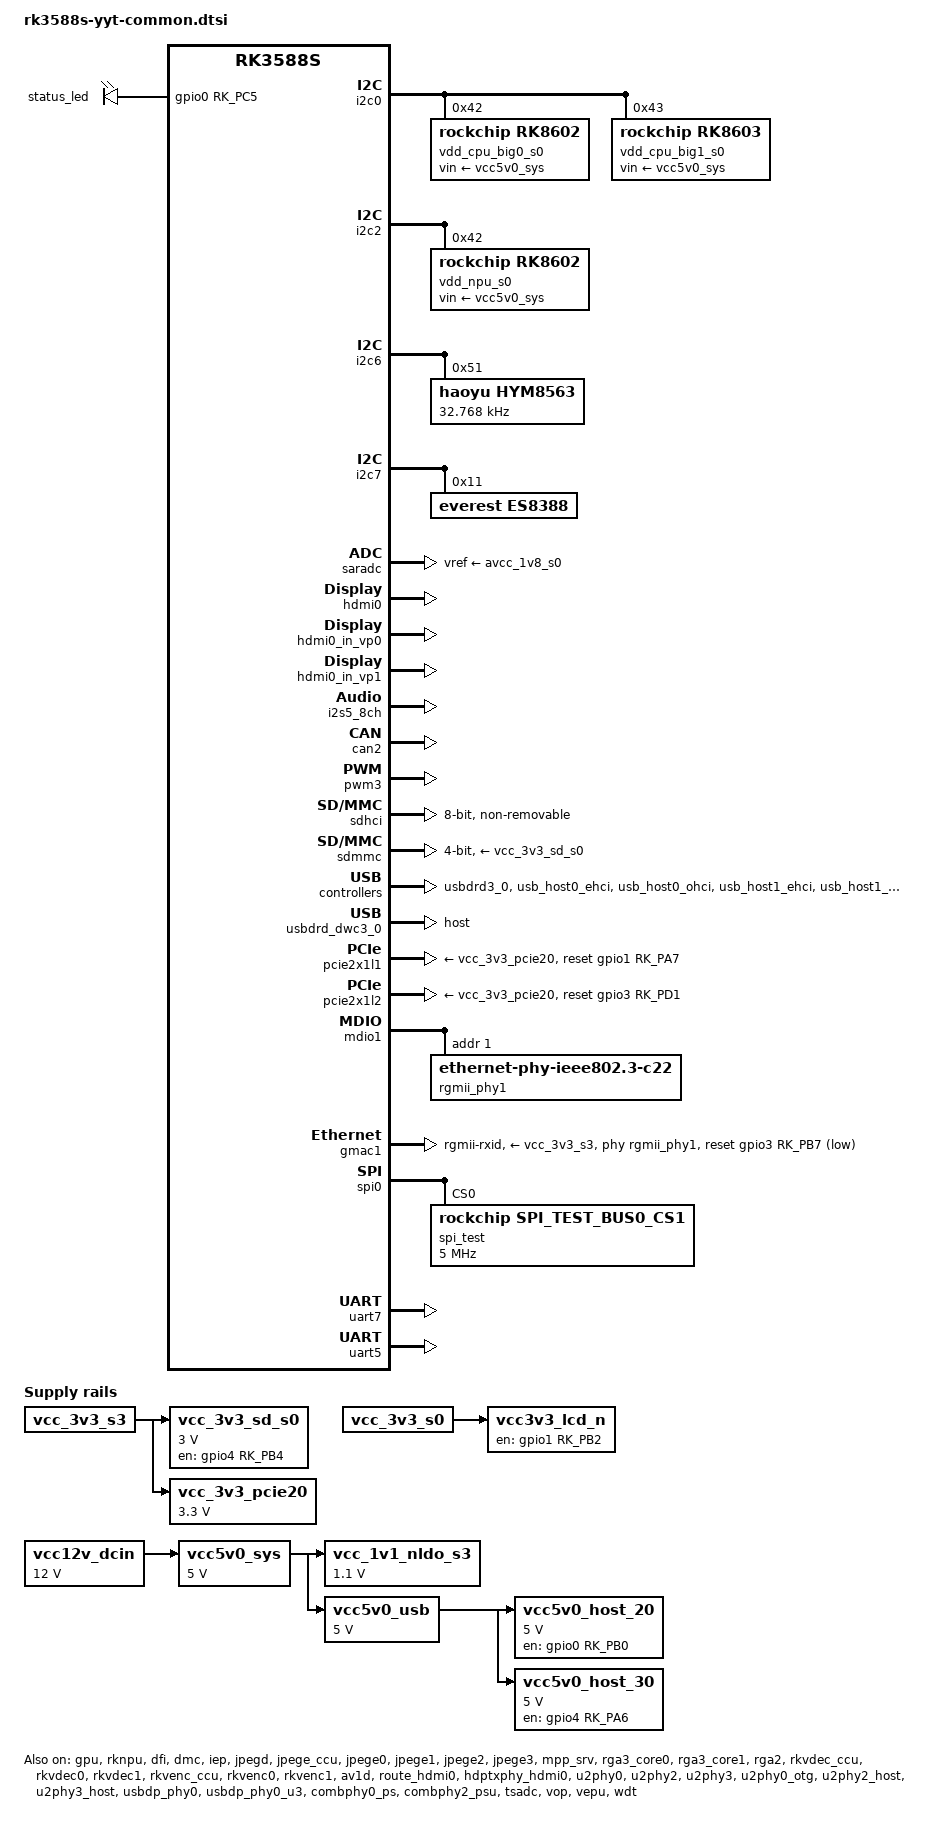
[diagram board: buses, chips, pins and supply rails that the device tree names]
// SPDX-License-Identifier: (GPL-2.0+ OR MIT)
/*
 *
 * Copyright (c) 2021 Rockchip Electronics Co., Ltd.
 */

#include <dt-bindings/gpio/gpio.h>
#include <dt-bindings/pwm/pwm.h>
#include <dt-bindings/pinctrl/rockchip.h>
#include <dt-bindings/input/rk-input.h>
#include <dt-bindings/display/drm_mipi_dsi.h>
#include <dt-bindings/display/rockchip_vop.h>
#include <dt-bindings/sensor-dev.h>
#include <dt-bindings/usb/pd.h>
#include "rk3588s.dtsi"
#include "rk3588-rk806-single.dtsi"
#include "rk3588-linux.dtsi"


/ {
	aliases {
		ethernet0 = &gmac1;
		mmc0 = &sdhci;
		mmc1 = &sdmmc;
		mmc2 = &sdio;
	};

	chosen: chosen {
		bootargs = "earlycon=uart8250,mmio32,0xfeb50000 console=ttyFIQ0 coherent_pool=1m irqchip.gicv3_pseudo_nmi=0";
	};

	/* HDMI SOUND */

	hdmi0_sound: hdmi0-sound {
		status = "disabled";
		compatible = "simple-audio-card";
		simple-audio-card,format = "i2s";
		simple-audio-card,mclk-fs = <128>;
		simple-audio-card,name = "rockchip,hdmi0";

		simple-audio-card,cpu {
			sound-dai = <&i2s5_8ch>;
		};
		simple-audio-card,codec {
			sound-dai = <&hdmi0>;
		};
	};

    /* POWER REGULATOR 12V DC-IN */

	vcc12v_dcin: vcc12v-dcin {
		compatible = "regulator-fixed";
		regulator-name = "vcc12v_dcin";
		regulator-always-on;
		regulator-boot-on;
		regulator-min-microvolt = <12000000>;
		regulator-max-microvolt = <12000000>;
	};

	/* POWER REGULATOR 5V SYS */

	vcc5v0_sys: vcc5v0-sys {
		compatible = "regulator-fixed";
		regulator-name = "vcc5v0_sys";
		regulator-always-on;
		regulator-boot-on;
		regulator-min-microvolt = <5000000>;
		regulator-max-microvolt = <5000000>;
		vin-supply = <&vcc12v_dcin>;
	};

	/* POWER REGULATOR CPU */

	vcc_1v1_nldo_s3: vcc-1v1-nldo-s3 {
		compatible = "regulator-fixed";
		regulator-name = "vcc_1v1_nldo_s3";
		regulator-always-on;
		regulator-boot-on;
		regulator-min-microvolt = <1100000>;
		regulator-max-microvolt = <1100000>;
		vin-supply = <&vcc5v0_sys>;
	};

	/* POWER REGULATOR 3V (SD) */

	vcc_3v3_sd_s0: vcc-3v3-sd-s0-regulator {
		compatible = "regulator-fixed";
		enable-active-high;
		gpio = <&gpio4 RK_PB4 GPIO_ACTIVE_HIGH>;
		pinctrl-names = "default";
		pinctrl-0 = <&sd_s0_pwr>;
		regulator-always-on;
		regulator-boot-on;
		regulator-max-microvolt = <3000000>;
		regulator-min-microvolt = <3000000>;
		regulator-name = "vcc_3v3_sd_s0";
		vin-supply = <&vcc_3v3_s3>;
	};

	/* POWER REGULATOR 3.3V (PCIE)*/

	vcc_3v3_pcie20: vcc3v3-pcie20 {
		compatible = "regulator-fixed";
		regulator-name = "vcc_3v3_pcie20";
		regulator-always-on;
		regulator-boot-on;
		regulator-min-microvolt = <3300000>;
		regulator-max-microvolt = <3300000>;
		vin-supply = <&vcc_3v3_s3>;
	};

	/* POWER REGULATOR 5V (USB2 & USB3) */

	vcc5v0_usb: vcc5v0-usb {
		compatible = "regulator-fixed";
		regulator-name = "vcc5v0_usb";
		regulator-always-on;
		regulator-boot-on;
		regulator-min-microvolt = <5000000>;
		regulator-max-microvolt = <5000000>;
		vin-supply = <&vcc5v0_sys>;
	};

    vcc5v0_host_20: vcc5v0-host-20 { // U13 (USB 2.0)
        compatible = "regulator-fixed";
        enable-active-high;
        gpio = <&gpio0 RK_PB0 GPIO_ACTIVE_HIGH>;
        pinctrl-names = "default";
        pinctrl-0 = <&vcc5v0_host20_en>;
        regulator-name = "vcc5v0_host_20";
        regulator-min-microvolt = <5000000>;
        regulator-max-microvolt = <5000000>;
        vin-supply = <&vcc5v0_usb>;
    };

    vcc5v0_host_30: vcc5v0-host-30 { // U12 (USB 3.0)
        compatible = "regulator-fixed";
        enable-active-high;
        gpio = <&gpio4 RK_PA6 GPIO_ACTIVE_HIGH>;
        pinctrl-names = "default";
        pinctrl-0 = <&vcc5v0_host30_en>;
        regulator-name = "vcc5v0_host_30";
        regulator-min-microvolt = <5000000>;
        regulator-max-microvolt = <5000000>;
        vin-supply = <&vcc5v0_usb>;
    };

	/* POWER REGULATOR LCD DSI0/DSI1 */

	vcc3v3_lcd_n: vcc3v3-lcd0-n {
		compatible = "regulator-fixed";
		regulator-name = "vcc3v3_lcd0_n";
		regulator-boot-on;
		enable-active-high;
		gpio = <&gpio1 RK_PB2 GPIO_ACTIVE_HIGH>;
		vin-supply = <&vcc_3v3_s0>;
	};

	/* LED GREEN SYS */
	leds: gpio-leds {
		compatible = "gpio-leds";
		pinctrl-names = "default";
		pinctrl-0 = <&leds_gpio>;
		status = "okay";

		led@1 {
			gpios = <&gpio0 RK_PC5 GPIO_ACTIVE_HIGH>;
			label = "status_led";
			linux,default-trigger = "heartbeat";
			linux,default-trigger-delay-ms = <0>;
		};
	};
};

/* I2C */

&i2c0 {
	status = "okay";
	pinctrl-names = "default";
	pinctrl-0 = <&i2c0m2_xfer>;

	vdd_cpu_big0_s0: vdd_cpu_big0_mem_s0: rk8602@42 {
		compatible = "rockchip,rk8602";
		reg = <0x42>;
		vin-supply = <&vcc5v0_sys>;
		regulator-compatible = "rk860x-reg";
		regulator-name = "vdd_cpu_big0_s0";
		regulator-min-microvolt = <550000>;
		regulator-max-microvolt = <1050000>;
		regulator-ramp-delay = <2300>;
		rockchip,suspend-voltage-selector = <1>;
		regulator-boot-on;
		regulator-always-on;
		regulator-state-mem {
			regulator-off-in-suspend;
		};
	};

	vdd_cpu_big1_s0: vdd_cpu_big1_mem_s0: rk8603@43 {
		compatible = "rockchip,rk8603";
		reg = <0x43>;
		vin-supply = <&vcc5v0_sys>;
		regulator-compatible = "rk860x-reg";
		regulator-name = "vdd_cpu_big1_s0";
		regulator-min-microvolt = <550000>;
		regulator-max-microvolt = <1050000>;
		regulator-ramp-delay = <2300>;
		rockchip,suspend-voltage-selector = <1>;
		regulator-boot-on;
		regulator-always-on;
		regulator-state-mem {
			regulator-off-in-suspend;
		};
	};
};

&i2c2 {
	status = "okay";

	vdd_npu_s0: vdd_npu_mem_s0: rk8602@42 {
		compatible = "rockchip,rk8602";
		reg = <0x42>;
		vin-supply = <&vcc5v0_sys>;
		regulator-compatible = "rk860x-reg";
		regulator-name = "vdd_npu_s0";
		regulator-min-microvolt = <550000>;
		regulator-max-microvolt = <950000>;
		regulator-ramp-delay = <2300>;
		rockchip,suspend-voltage-selector = <1>;
		regulator-boot-on;
		regulator-always-on;
		regulator-state-mem {
			regulator-off-in-suspend;
		};
	};
};

&i2c3 {
	status = "disabled";
};

&i2c4 {
	status = "disabled";
	pinctrl-names = "default";
	pinctrl-0 = <&i2c4m3_xfer>;
};

&i2c5 {
	status = "disabled";
	pinctrl-names = "default";
	pinctrl-0 = <&i2c5m3_xfer>;
};

&i2c6 {
    status = "okay";
    pinctrl-names = "default";
    pinctrl-0 = <&i2c6m3_xfer>;

    /* RTC */
    hym8563: hym8563@51 {
        compatible = "haoyu,hym8563";
        reg = <0x51>;
        #clock-cells = <0>;
        clock-frequency = <32768>;
        clock-output-names = "hym8563";
        status = "okay";
    };
};


&i2c7 {
	status = "okay";
	pinctrl-names = "default";
	pinctrl-0 = <&i2c7m0_xfer>;

	es8388: es8388@11 {
		status = "okay";
		#sound-dai-cells = <0>;
		compatible = "everest,es8388", "everest,es8323";
		reg = <0x11>;
		clocks = <&mclkout_i2s0>;
		clock-names = "mclk";
		assigned-clocks = <&mclkout_i2s0>;
		assigned-clock-rates = <12288000>;
		pinctrl-names = "default";
		pinctrl-0 = <&i2s0_mclk>;
	};
};

&i2c8 {
	status = "disabled";
};

/* CPU */

&cpu_l0 {
	cpu-supply = <&vdd_cpu_lit_s0>;
	mem-supply = <&vdd_cpu_lit_mem_s0>;
};

&cpu_b0 {
	cpu-supply = <&vdd_cpu_big0_s0>;
	mem-supply = <&vdd_cpu_big0_mem_s0>;
};

&cpu_b2 {
	cpu-supply = <&vdd_cpu_big1_s0>;
	mem-supply = <&vdd_cpu_big1_mem_s0>;
};

/* GPU */

&gpu {
	mali-supply = <&vdd_gpu_s0>;
	mem-supply = <&vdd_gpu_mem_s0>;
	status = "okay";
};

/* NPU */

&rknpu {
	rknpu-supply = <&vdd_npu_s0>;
	mem-supply = <&vdd_npu_mem_s0>;
	status = "okay";
};

&dfi {
	status = "okay";
};

&dmc {
	status = "okay";
	center-supply = <&vdd_ddr_s0>;
	mem-supply = <&vdd_log_s0>;
};

&rknpu_mmu {
	status = "okay";
};

&iep {
	status = "okay";
};

&iep_mmu {
	status = "okay";
};

&jpegd {
	status = "okay";
};

&jpegd_mmu {
	status = "okay";
};

&jpege_ccu {
	status = "okay";
};

&jpege0 {
	status = "okay";
};

&jpege0_mmu {
	status = "okay";
};

&jpege1 {
	status = "okay";
};

&jpege1_mmu {
	status = "okay";
};

&jpege2 {
	status = "okay";
};

&jpege2_mmu {
	status = "okay";
};

&jpege3 {
	status = "okay";
};

&jpege3_mmu {
	status = "okay";
};

&mpp_srv {
	status = "okay";
};

&rga3_core0 {
	status = "okay";
};

&rga3_0_mmu {
	status = "okay";
};

&rga3_core1 {
	status = "okay";
};

&rga3_1_mmu {
	status = "okay";
};

&rga2 {
	status = "okay";
};

&rkvdec_ccu {
	status = "okay";
};

&rkvdec0 {
	status = "okay";
};

&rkvdec0_mmu {
	status = "okay";
};

&rkvdec1 {
	status = "okay";
};

&rkvdec1_mmu {
	status = "okay";
};

&rkvenc_ccu {
	status = "okay";
};

&rkvenc0 {
	venc-supply = <&vdd_vdenc_s0>;
	mem-supply = <&vdd_vdenc_mem_s0>;
	status = "okay";
};

&rkvenc0_mmu {
	status = "okay";
};

&rkvenc1 {
	venc-supply = <&vdd_vdenc_s0>;
	mem-supply = <&vdd_vdenc_mem_s0>;
	status = "okay";
};

&rkvenc1_mmu {
	status = "okay";
};

&av1d {
	status = "okay";
};

&av1d_mmu {
	status = "okay";
};

&saradc {
	status = "okay";
	vref-supply = <&avcc_1v8_s0>;
};

/* HDMI */

&hdmi0 {
	enable-gpios = <&gpio4 RK_PB6 GPIO_ACTIVE_HIGH>;
	status = "okay";
	cec-enable = "true";
};

&hdmi0_in_vp0 {
    status = "okay";
};

&route_hdmi0 {
	status = "okay";
	connect = <&vp0_out_hdmi0>;
};

&hdmi0_sound {
	status = "okay";
};

&hdptxphy_hdmi0 {
	status = "okay";
};

&hdmi0_in_vp1 {
	status = "okay";
};

&i2s5_8ch {
	status = "okay";
};

/* VARIOUS */
/* FAN CONTROL */

&threshold {
	temperature = <60000>;
};

&soc_thermal {
	sustainable-power = <5000>; /* milliwatts */
	polling-delay = <1000>;
	polling-delay-passive = <2000>;
	trips {
		trip0: trip-point@0 {
			temperature = <55000>;
			hysteresis = <5000>;
			type = "active";
		};
		trip1: trip-point@1 {
			temperature = <60000>;
			hysteresis = <5000>;
			type = "active";
		};
		trip2: trip-point@2 {
			temperature = <65000>;
			hysteresis = <5000>;
			type = "active";
		};
		trip3: trip-point@3 {
			temperature = <70000>;
			hysteresis = <5000>;
			type = "active";
		};
		trip4: trip-point@4 {
			temperature = <75000>;
			hysteresis = <5000>;
			type = "active";
		};
		pcritical: trip-point@5 {
			temperature = <80000>;
			hysteresis = <1000>;
			type = "active";
		};
	};
	cooling-maps {
		map0 {
			trip = <&trip0>;
			cooling-device = <&fan0 0 1>;
			contribution = <1024>;
		};
		map1 {
			trip = <&trip1>;
			cooling-device = <&fan0 1 2>;
			contribution = <1024>;
		};
		map2 {
			trip = <&trip2>;
			cooling-device = <&fan0 2 3>;
			contribution = <1024>;
		};
		map3 {
			trip = <&trip3>;
			cooling-device = <&fan0 3 4>;
			contribution = <1024>;
		};
		map4 {
			trip = <&trip4>;
			cooling-device = <&fan0 4 5>;
			contribution = <1024>;
		};
		map5 {
			trip = <&pcritical>;
			cooling-device = <&fan0 5 6>;
			contribution = <1024>;
		};
	};
};

/* CAN */
&can2 {
    pinctrl-names = "default";
    pinctrl-0 = <&can2m0_pins>;
    status = "okay";
};

&pwm3 {
	compatible = "rockchip,remotectl-pwm";
	pinctrl-names = "default";
	pinctrl-0 = <&pwm3m0_pins>;
	remote_pwm_id = <3>;
	handle_cpu_id = <1>;
	remote_support_psci = <0>;
	status = "okay";

	ir_key1 {
		rockchip,usercode = <0xc43b>;
		/* /system/usr/keylayout/Generic.kl */
		rockchip,key_table =
			<0xff	KEY_POWER>,
			<0xef	KEY_LEFT>,
			<0xed	KEY_RIGHT>,
			<0xf2	KEY_UP>,
			<0xea	KEY_DOWN>,
			<0xee	KEY_ENTER>,
			<0xe9	KEY_MUTE>,
			<0xf1	KEY_VOLUMEDOWN>,
			<0xf3	KEY_VOLUMEUP>,
			<0xae	KEY_MENU>,
			<0xeb	KEY_LEFTMETA>,
			<0xaf	KEY_BACK>,
			<0xf7	KEY_MODE>,
			<0xe5	KEY_SYSRQ>,
			<0xf5	KEY_ESC>;
	};
};

&avcc_1v8_s0 {
	regulator-state-mem {
		regulator-on-in-suspend;
		regulator-suspend-microvolt = <1800000>;
	};
};

&vdd_log_s0 {
	regulator-state-mem {
		regulator-on-in-suspend;
		regulator-suspend-microvolt = <750000>;
	};
};

&rockchip_suspend {
	status = "okay";
	rockchip,sleep-debug-en = <1>;
	rockchip,sleep-mode-config = <
		(0
		| RKPM_SLP_ARMOFF_DDRPD
		)
	>;
	rockchip,wakeup-config = <
		(0
		| RKPM_CPU0_WKUP_EN
		| RKPM_GPIO_WKUP_EN
		)
	>;
};

/* Storage */
/* eMMC */

&sdhci {
	bus-width = <8>;
	no-sdio;
	no-sd;
	non-removable;
	max-frequency = <200000000>;
	mmc-hs400-1_8v;
	mmc-hs400-enhanced-strobe;
	full-pwr-cycle-in-suspend;
	status = "okay";
};

/* SD */

&sdmmc {
	max-frequency = <200000000>;
	no-sdio;
	no-mmc;
	bus-width = <4>;
	cap-mmc-highspeed;
	cap-sd-highspeed;
	disable-wp;
	sd-uhs-sdr104;
	vmmc-supply = <&vcc_3v3_sd_s0>;
	vqmmc-supply = <&vccio_sd_s0>;
	pinctrl-names = "default";
	pinctrl-0 = <&sdmmc_bus4 &sdmmc_clk &sdmmc_cmd &sdmmc_det>;
	status = "okay";
};

/* USB 2.0 / USB 3.0 */

&u2phy0 {
    status = "okay";
};

&u2phy2 {
    status = "okay";
};

&u2phy3 {
	status = "okay";
};

&u2phy0_otg {
	phy-supply = <&vcc5v0_host_30>;
	status = "okay";
};

&u2phy2_host {
	phy-supply = <&vcc5v0_host_20>;
	status = "okay";
};

&u2phy3_host {
	phy-supply = <&vcc5v0_host_20>;
    status = "okay";
};

&usbdrd3_0 {
    status = "okay";
};

&usbdrd_dwc3_0 {
	status = "okay";
	dr_mode = "host";
	extcon = <&u2phy0>;
};

&usb_host0_ehci {
	status = "okay";
};

&usb_host0_ohci {
	status = "okay";
};

&usb_host1_ehci {
	status = "okay";
};

&usb_host1_ohci {
	status = "okay";
};

&usbdp_phy0 {
	status = "okay";
};

&usbdp_phy0_u3 {
	status = "okay";
};

/* PCIe */

&combphy0_ps {
	status = "okay";
};

&combphy2_psu {
	status = "okay";
};

&pcie2x1l1 {
	reset-gpios = <&gpio1 RK_PA7 GPIO_ACTIVE_HIGH>;
	rockchip,init-delay-ms = <100>;
	vpcie3v3-supply = <&vcc_3v3_pcie20>;
	status = "okay";
};

&pcie2x1l2 {
	reset-gpios = <&gpio3 RK_PD1 GPIO_ACTIVE_HIGH>;
	vpcie3v3-supply = <&vcc_3v3_pcie20>;
	status = "okay";
};

/* ADC */

&tsadc {
	status = "okay";
};

/* Ethernet */

&mdio1 {
	rgmii_phy1: phy@1 {
		compatible = "ethernet-phy-ieee802.3-c22";
		reg = <0x1>;
	};
};

&gmac1 {
	status = "okay";
	phy-mode = "rgmii-rxid";
	clock_in_out = "output";

	snps,reset-gpio = <&gpio3 RK_PB7 GPIO_ACTIVE_LOW>;
	snps,reset-active-low;
	/* Reset time is 20ms, 100ms for rtl8211f */
	snps,reset-delays-us = <0 20000 100000>;

	pinctrl-names = "default";
	pinctrl-0 = <&gmac1_miim
		     &gmac1_tx_bus2
		     &gmac1_rx_bus2
		     &gmac1_rgmii_clk
		     &gmac1_rgmii_bus>;

	rx_delay = <0x00>;
	tx_delay = <0x43>;

	phy-handle = <&rgmii_phy1>;
	phy-supply = <&vcc_3v3_s3>;
};


/* Video Ports */

&vop {
	assigned-clocks = <&cru ACLK_VOP>;
	assigned-clock-rates = <800000000>;
	status = "okay";
	disable-win-move;
};

&vop_mmu {
	status = "okay";
};

&vepu {
	status = "okay";
};

/* vp0 & vp1 splice for 8K output */
&vp0 {
	cursor-win-id=<ROCKCHIP_VOP2_ESMART0>;
	rockchip,plane-mask = <(1 << ROCKCHIP_VOP2_CLUSTER0 | 1 << ROCKCHIP_VOP2_ESMART0)>;
	rockchip,primary-plane = <ROCKCHIP_VOP2_CLUSTER0>;
};

&vp1 {
	cursor-win-id=<ROCKCHIP_VOP2_ESMART1>;
	rockchip,plane-mask = <(1 << ROCKCHIP_VOP2_CLUSTER1 | 1 << ROCKCHIP_VOP2_ESMART1)>;
	rockchip,primary-plane = <ROCKCHIP_VOP2_CLUSTER1>;
};

&vp2 {
	cursor-win-id=<ROCKCHIP_VOP2_ESMART2>;
	rockchip,plane-mask = <(1 << ROCKCHIP_VOP2_CLUSTER2 | 1 << ROCKCHIP_VOP2_ESMART2)>;
	rockchip,primary-plane = <ROCKCHIP_VOP2_CLUSTER2>;
};

&vp3 {
	cursor-win-id=<ROCKCHIP_VOP2_ESMART3>;
	rockchip,plane-mask = <(1 << ROCKCHIP_VOP2_CLUSTER3 | 1 << ROCKCHIP_VOP2_ESMART3)>;
	rockchip,primary-plane = <ROCKCHIP_VOP2_CLUSTER3>;
};

&wdt {
	status = "okay";
};

&display_subsystem {
	clocks = <&hdptxphy_hdmi0>;
	clock-names = "hdmi0_phy_pll";
};

/* SPI */

&spi0 {
	status = "okay";
	pinctrl-names = "default";
	pinctrl-0 = <&spi0m3_cs0  &spi0m3_cs1 &spi0m3_pins>;
	num-cs = <2>;
	spi_test@0 {
		compatible = "rockchip,spi_test_bus0_cs1";
		reg = <0>;
		spi-max-frequency = <5000000>;
	};
};


&spi2 {
	pinctrl-names = "default";
	pinctrl-0 = <&spi2m2_cs0 &spi2m2_pins>;
	num-cs = <1>;
};

/* UART */

&uart7 {
	status = "okay";
	pinctrl-names = "default";
	pinctrl-0 = <&uart7m1_xfer>;
};

&uart5 {
        status = "okay";
        pinctrl-names = "default";
        pinctrl-0 = <&uart5m1_xfer>;
};

&pinctrl {
	/* HEADPHONE */
	headphone {
		hp_det: hp-det {
            rockchip,pins = <1 RK_PC0 RK_FUNC_GPIO &pcfg_pull_none>;
		};
	};
	/* RTC */
	hym8563 {
		rtc_int: rtc-int {
			rockchip,pins = <0 RK_PB0 RK_FUNC_GPIO &pcfg_pull_up>;
		};
	};
    /* SD */
	sdmmc {
		sd_s0_pwr: sd-s0-pwr {
			rockchip,pins = <4 RK_PB4 RK_FUNC_GPIO &pcfg_pull_up>;
		};
	};
	/* USB */
    usb {
        vcc5v0_host20_en: vcc5v0-host20-en { // USB 2.0
            rockchip,pins = <0 RK_PC4 RK_FUNC_GPIO &pcfg_pull_up>;
        };
        vcc5v0_host30_en: vcc5v0-host30-en { // USB 3.0
            rockchip,pins = <4 RK_PA6 RK_FUNC_GPIO &pcfg_pull_up>;
        };
    };
    /* LCD */
	lcd {
		lcd_rst_gpio: lcd-rst-gpio {
		rockchip,pins = <1 RK_PB5 RK_FUNC_GPIO &pcfg_pull_none>,
						<1 RK_PB4 RK_FUNC_GPIO &pcfg_pull_none>;
		};
	};
	/* TOUCHSCREEN */
	touch {
		touch_gpio: touch-gpio {
			rockchip,pins =
				<4 RK_PB2 RK_FUNC_GPIO &pcfg_pull_up>,
				<1 RK_PB2 RK_FUNC_GPIO &pcfg_pull_up>,
				<1 RK_PB3 RK_FUNC_GPIO &pcfg_pull_up>;
		};
	};
	/* WIRELESS */
	wireless-wlan {
		wifi_host_wake_irq: wifi-host-wake-irq {
			rockchip,pins = <0 RK_PA0 RK_FUNC_GPIO &pcfg_pull_down>;
		};
	};
    /* GPIO */
	gpio {
		leds_gpio: leds-gpio {
			rockchip,pins = <0 RK_PC5 RK_FUNC_GPIO &pcfg_pull_none>;
		};
    };
};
